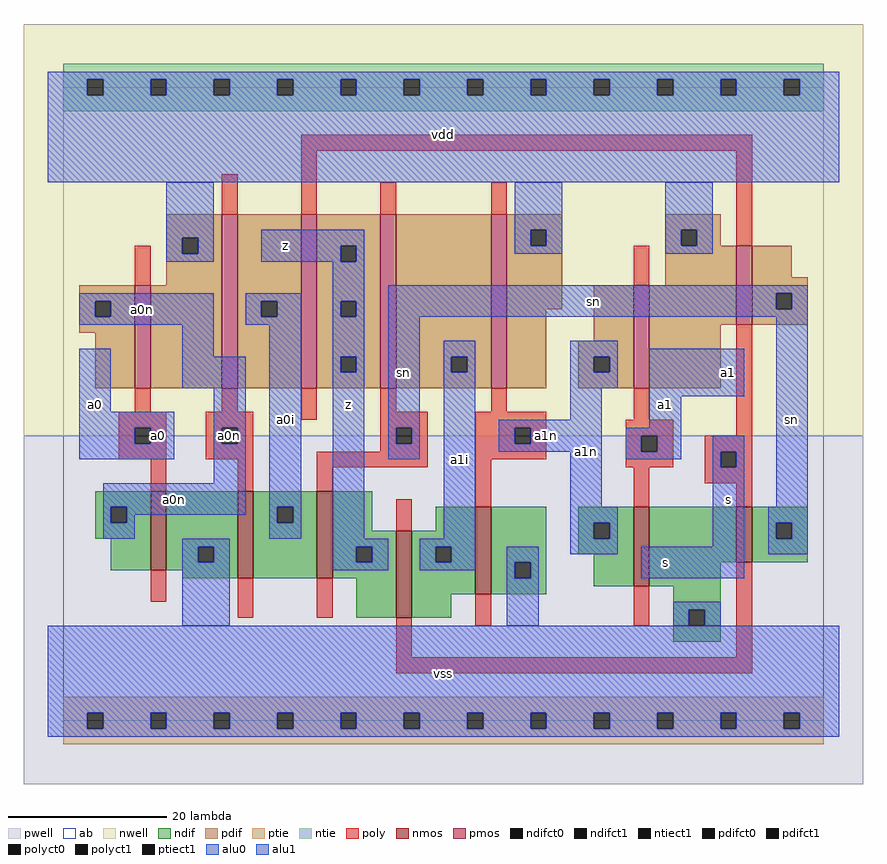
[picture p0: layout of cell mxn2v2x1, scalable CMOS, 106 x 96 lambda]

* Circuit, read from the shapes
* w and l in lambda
.subckt mxn2v2x1 a0 a0i a0n a1 a1i a1n s sn vdd vss z
M1 vss a0 a0n vss nfet w=10 l=2
M2 a0i a0n vss vss nfet w=11 l=2
M3 z sn a0i vss nfet w=11 l=2
M4 a1i s z vss nfet w=11 l=2
M5 vss a1n a1i vss nfet w=11 l=2
M6 vss a1 a1n vss nfet w=10 l=2
M7 sn s vss vss nfet w=7 l=2
M8 vdd a0 a0n vdd pfet w=13 l=2
M9 a0i a0n vdd vdd pfet w=22 l=2
M10 z s a0i vdd pfet w=22 l=2
M11 a1i sn z vdd pfet w=22 l=2
M12 vdd a1n a1i vdd pfet w=22 l=2
M13 vdd a1 a1n vdd pfet w=13 l=2
M14 sn s vdd vdd pfet w=10 l=2
.ends

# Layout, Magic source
magic
tech scmos
<< ab >>
rect 0 0 96 80
<< nwell >>
rect -5 36 101 88
<< pwell >>
rect -5 -8 101 36
<< poly >>
rect 30 72 87 74
rect 20 64 22 69
rect 30 64 32 72
rect 40 64 42 68
rect 54 64 56 68
rect 9 55 11 60
rect 85 60 87 72
rect 72 55 74 60
rect 9 39 11 42
rect 20 39 22 42
rect 7 37 13 39
rect 7 35 9 37
rect 11 35 13 37
rect 7 33 13 35
rect 18 37 24 39
rect 30 38 32 42
rect 40 39 42 42
rect 54 39 56 42
rect 18 35 20 37
rect 22 35 24 37
rect 18 33 24 35
rect 40 37 46 39
rect 40 35 42 37
rect 44 35 46 37
rect 40 34 46 35
rect 11 29 13 33
rect 22 29 24 33
rect 32 32 46 34
rect 52 37 61 39
rect 72 38 74 42
rect 52 35 57 37
rect 59 35 61 37
rect 52 33 61 35
rect 71 36 77 38
rect 85 36 87 50
rect 71 34 73 36
rect 75 34 77 36
rect 32 29 34 32
rect 11 15 13 19
rect 42 24 44 28
rect 52 27 54 33
rect 71 32 77 34
rect 81 34 87 36
rect 81 32 83 34
rect 85 32 87 34
rect 72 27 74 32
rect 81 30 87 32
rect 85 27 87 30
rect 22 13 24 18
rect 32 13 34 18
rect 42 8 44 13
rect 52 12 54 16
rect 72 12 74 17
rect 85 8 87 20
rect 42 6 87 8
<< ndif >>
rect 4 27 11 29
rect 4 25 6 27
rect 8 25 11 27
rect 4 23 11 25
rect 6 19 11 23
rect 13 22 22 29
rect 13 20 17 22
rect 19 20 22 22
rect 13 19 22 20
rect 15 18 22 19
rect 24 27 32 29
rect 24 25 27 27
rect 29 25 32 27
rect 24 18 32 25
rect 34 24 39 29
rect 47 24 52 27
rect 34 22 42 24
rect 34 20 37 22
rect 39 20 42 22
rect 34 18 42 20
rect 37 13 42 18
rect 44 22 52 24
rect 44 20 47 22
rect 49 20 52 22
rect 44 16 52 20
rect 54 20 61 27
rect 65 25 72 27
rect 65 23 67 25
rect 69 23 72 25
rect 65 21 72 23
rect 54 18 57 20
rect 59 18 61 20
rect 54 16 61 18
rect 67 17 72 21
rect 74 20 85 27
rect 87 25 94 27
rect 87 23 90 25
rect 92 23 94 25
rect 87 20 94 23
rect 74 17 83 20
rect 44 13 49 16
rect 77 14 83 17
rect 77 12 79 14
rect 81 12 83 14
rect 77 10 83 12
<< pdif >>
rect 13 61 20 64
rect 13 59 15 61
rect 17 59 20 61
rect 13 55 20 59
rect 2 53 9 55
rect 2 51 4 53
rect 6 51 9 53
rect 2 49 9 51
rect 4 42 9 49
rect 11 42 20 55
rect 22 53 30 64
rect 22 51 25 53
rect 27 51 30 53
rect 22 42 30 51
rect 32 60 40 64
rect 32 58 35 60
rect 37 58 40 60
rect 32 53 40 58
rect 32 51 35 53
rect 37 51 40 53
rect 32 46 40 51
rect 32 44 35 46
rect 37 44 40 46
rect 32 42 40 44
rect 42 46 54 64
rect 42 44 49 46
rect 51 44 54 46
rect 42 42 54 44
rect 56 62 63 64
rect 56 60 59 62
rect 61 60 63 62
rect 76 62 83 64
rect 76 60 78 62
rect 80 60 83 62
rect 56 52 63 60
rect 76 55 85 60
rect 56 42 61 52
rect 67 48 72 55
rect 65 46 72 48
rect 65 44 67 46
rect 69 44 72 46
rect 65 42 72 44
rect 74 50 85 55
rect 87 56 92 60
rect 87 54 94 56
rect 87 52 90 54
rect 92 52 94 54
rect 87 50 94 52
rect 74 42 83 50
<< alu1 >>
rect -2 81 98 82
rect -2 79 3 81
rect 5 79 11 81
rect 13 79 19 81
rect 21 79 27 81
rect 29 79 35 81
rect 37 79 43 81
rect 45 79 51 81
rect 53 79 59 81
rect 61 79 67 81
rect 69 79 75 81
rect 77 79 83 81
rect 85 79 91 81
rect 93 79 98 81
rect -2 68 98 79
rect 25 60 38 62
rect 25 58 35 60
rect 37 58 38 60
rect 2 39 6 47
rect 2 37 14 39
rect 2 35 9 37
rect 11 35 14 37
rect 2 33 14 35
rect 34 53 38 58
rect 34 51 35 53
rect 37 51 38 53
rect 34 46 38 51
rect 34 44 35 46
rect 37 44 38 46
rect 34 23 38 44
rect 74 41 86 47
rect 74 37 78 41
rect 34 22 41 23
rect 34 20 37 22
rect 39 20 41 22
rect 34 19 41 20
rect 71 36 78 37
rect 71 34 73 36
rect 75 34 78 36
rect 71 33 78 34
rect 82 34 86 36
rect 82 32 83 34
rect 85 32 86 34
rect 82 22 86 32
rect 73 18 86 22
rect -2 1 98 12
rect -2 -1 3 1
rect 5 -1 11 1
rect 13 -1 19 1
rect 21 -1 27 1
rect 29 -1 35 1
rect 37 -1 43 1
rect 45 -1 51 1
rect 53 -1 59 1
rect 61 -1 67 1
rect 69 -1 75 1
rect 77 -1 83 1
rect 85 -1 91 1
rect 93 -1 98 1
rect -2 -2 98 -1
<< ptie >>
rect 0 1 96 3
rect 0 -1 3 1
rect 5 -1 11 1
rect 13 -1 19 1
rect 21 -1 27 1
rect 29 -1 35 1
rect 37 -1 43 1
rect 45 -1 51 1
rect 53 -1 59 1
rect 61 -1 67 1
rect 69 -1 75 1
rect 77 -1 83 1
rect 85 -1 91 1
rect 93 -1 96 1
rect 0 -3 96 -1
<< ntie >>
rect 0 81 96 83
rect 0 79 3 81
rect 5 79 11 81
rect 13 79 19 81
rect 21 79 27 81
rect 29 79 35 81
rect 37 79 43 81
rect 45 79 51 81
rect 53 79 59 81
rect 61 79 67 81
rect 69 79 75 81
rect 77 79 83 81
rect 85 79 91 81
rect 93 79 96 81
rect 0 77 96 79
<< nmos >>
rect 11 19 13 29
rect 22 18 24 29
rect 32 18 34 29
rect 42 13 44 24
rect 52 16 54 27
rect 72 17 74 27
rect 85 20 87 27
<< pmos >>
rect 9 42 11 55
rect 20 42 22 64
rect 30 42 32 64
rect 40 42 42 64
rect 54 42 56 64
rect 72 42 74 55
rect 85 50 87 60
<< polyct0 >>
rect 20 35 22 37
rect 42 35 44 37
rect 57 35 59 37
<< polyct1 >>
rect 9 35 11 37
rect 73 34 75 36
rect 83 32 85 34
<< ndifct0 >>
rect 6 25 8 27
rect 17 20 19 22
rect 27 25 29 27
rect 47 20 49 22
rect 67 23 69 25
rect 57 18 59 20
rect 90 23 92 25
rect 79 12 81 14
<< ndifct1 >>
rect 37 20 39 22
<< ntiect1 >>
rect 3 79 5 81
rect 11 79 13 81
rect 19 79 21 81
rect 27 79 29 81
rect 35 79 37 81
rect 43 79 45 81
rect 51 79 53 81
rect 59 79 61 81
rect 67 79 69 81
rect 75 79 77 81
rect 83 79 85 81
rect 91 79 93 81
<< ptiect1 >>
rect 3 -1 5 1
rect 11 -1 13 1
rect 19 -1 21 1
rect 27 -1 29 1
rect 35 -1 37 1
rect 43 -1 45 1
rect 51 -1 53 1
rect 59 -1 61 1
rect 67 -1 69 1
rect 75 -1 77 1
rect 83 -1 85 1
rect 91 -1 93 1
<< pdifct0 >>
rect 15 59 17 61
rect 4 51 6 53
rect 25 51 27 53
rect 49 44 51 46
rect 59 60 61 62
rect 78 60 80 62
rect 67 44 69 46
rect 90 52 92 54
<< pdifct1 >>
rect 35 58 37 60
rect 35 51 37 53
rect 35 44 37 46
<< alu0 >>
rect 13 61 19 68
rect 57 62 63 68
rect 13 59 15 61
rect 17 59 19 61
rect 13 58 19 59
rect 57 60 59 62
rect 61 60 63 62
rect 57 59 63 60
rect 76 62 82 68
rect 76 60 78 62
rect 80 60 82 62
rect 76 59 82 60
rect 2 53 19 54
rect 2 51 4 53
rect 6 51 19 53
rect 2 50 19 51
rect 23 53 30 54
rect 23 51 25 53
rect 27 51 30 53
rect 23 50 30 51
rect 15 46 19 50
rect 15 42 23 46
rect 19 37 23 42
rect 19 35 20 37
rect 22 35 23 37
rect 19 30 23 35
rect 5 27 23 30
rect 5 25 6 27
rect 8 26 23 27
rect 26 27 30 50
rect 8 25 9 26
rect 5 23 9 25
rect 26 25 27 27
rect 29 25 30 27
rect 26 23 30 25
rect 41 54 94 55
rect 41 52 90 54
rect 92 52 94 54
rect 41 51 94 52
rect 41 37 45 51
rect 41 35 42 37
rect 44 35 45 37
rect 41 33 45 35
rect 48 46 52 48
rect 48 44 49 46
rect 51 44 52 46
rect 48 23 52 44
rect 64 46 70 48
rect 64 44 67 46
rect 69 44 70 46
rect 64 42 70 44
rect 64 38 68 42
rect 55 37 68 38
rect 55 35 57 37
rect 59 35 68 37
rect 55 34 68 35
rect 15 22 21 23
rect 15 20 17 22
rect 19 20 21 22
rect 15 12 21 20
rect 45 22 52 23
rect 64 27 68 34
rect 64 25 70 27
rect 64 23 67 25
rect 69 23 70 25
rect 45 20 47 22
rect 49 20 52 22
rect 45 19 52 20
rect 56 20 60 22
rect 64 21 70 23
rect 90 27 94 51
rect 56 18 57 20
rect 59 18 60 20
rect 89 25 94 27
rect 89 23 90 25
rect 92 23 94 25
rect 89 21 94 23
rect 56 12 60 18
rect 77 14 83 15
rect 77 12 79 14
rect 81 12 83 14
<< labels >>
rlabel alu0 14 28 14 28 6 a0n
rlabel polyct0 21 36 21 36 6 a0n
rlabel alu0 10 52 10 52 6 a0n
rlabel alu0 43 44 43 44 6 sn
rlabel alu0 28 38 28 38 6 a0i
rlabel alu0 61 36 61 36 6 a1n
rlabel alu0 66 34 66 34 6 a1n
rlabel alu0 50 33 50 33 6 a1i
rlabel alu0 92 38 92 38 6 sn
rlabel alu0 67 53 67 53 6 sn
rlabel alu1 12 36 12 36 6 a0
rlabel alu1 4 40 4 40 6 a0
rlabel alu1 36 40 36 40 6 z
rlabel alu1 28 60 28 60 6 z
rlabel alu1 48 6 48 6 6 vss
rlabel alu1 48 74 48 74 6 vdd
rlabel alu1 76 20 76 20 6 s
rlabel alu1 84 28 84 28 6 s
rlabel alu1 84 44 84 44 6 a1
rlabel alu1 76 40 76 40 6 a1
<< end >>
